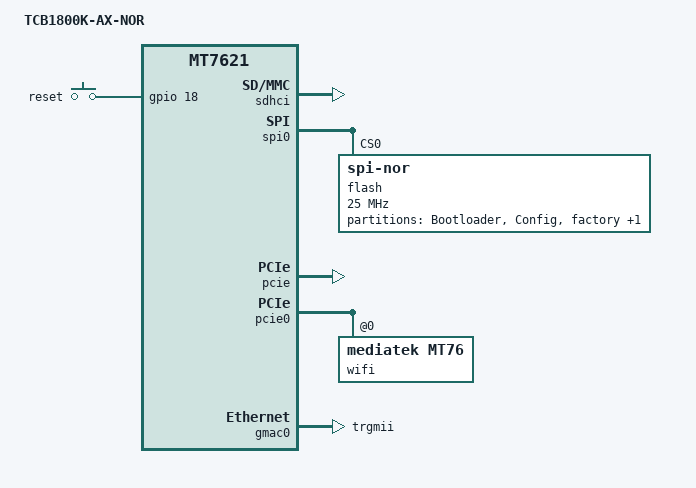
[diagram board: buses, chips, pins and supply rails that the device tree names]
/dts-v1/;

#include "mt7621.dtsi"

#include <dt-bindings/gpio/gpio.h>
#include <dt-bindings/input/input.h>

/ {
	compatible = "xwrt,tcb1800k-ax-nor", "mediatek,mt7621-soc";
	model = "TCB1800K-AX-NOR";

	aliases {
		label-mac-device = &ethernet;
	};

	chosen {
		bootargs = "console=ttyS0,115200";
	};

	keys {
		compatible = "gpio-keys";

		reset {
			label = "reset";
			gpios = <&gpio 18 GPIO_ACTIVE_HIGH>;
			linux,code = <KEY_RESTART>;
		};
	};
};

&sdhci {
	status = "okay";
};

&spi0 {
	status = "okay";

	flash@0 {
		compatible = "jedec,spi-nor";
		reg = <0>;
		spi-max-frequency = <25000000>;
		broken-flash-reset;
		m25p,fast-read;

		partitions {
			compatible = "fixed-partitions";
			#address-cells = <1>;
			#size-cells = <1>;

			partition@0 {
				label = "Bootloader";
				reg = <0x0 0x40000>;
			};

			partition@30000 {
				label = "Config";
				reg = <0x40000 0x10000>;
			};

			factory: partition@40000 {
				label = "factory";
				reg = <0x50000 0x40000>;
			};

			partition@90000 {
				compatible = "denx,uimage";
				label = "firmware";
				reg = <0x90000 0xf70000>;
			};
		};
	};
};

&pcie {
	status = "okay";
};

&pcie0 {
	wifi@0,0 {
		compatible = "mediatek,mt76";
		reg = <0x0000 0 0 0 0>;
		mediatek,mtd-eeprom = <&factory 0x0000>;
		mtd-mac-address = <&factory 0x4>;
	};
};

&ethernet {
	compatible = "mediatek,ralink-mt7621-eth";
	mediatek,switch = <&gsw>;
	mtd-mac-address = <&factory 0x28>;
};

&gmac0 {
	phy-mode = "trgmii";
};

&switch0 {
	/* must delete compatible property */
	/delete-property/ compatible;
	phy-mode = "trgmii";
};

&gsw {
	compatible = "mediatek,ralink-mt7621-gsw";
};

&pinctrl {
	state_default: pinctrl0 {
		gpio {
			groups = "i2c", "uart2", "uart3";
			function = "gpio";
		};
	};
};
